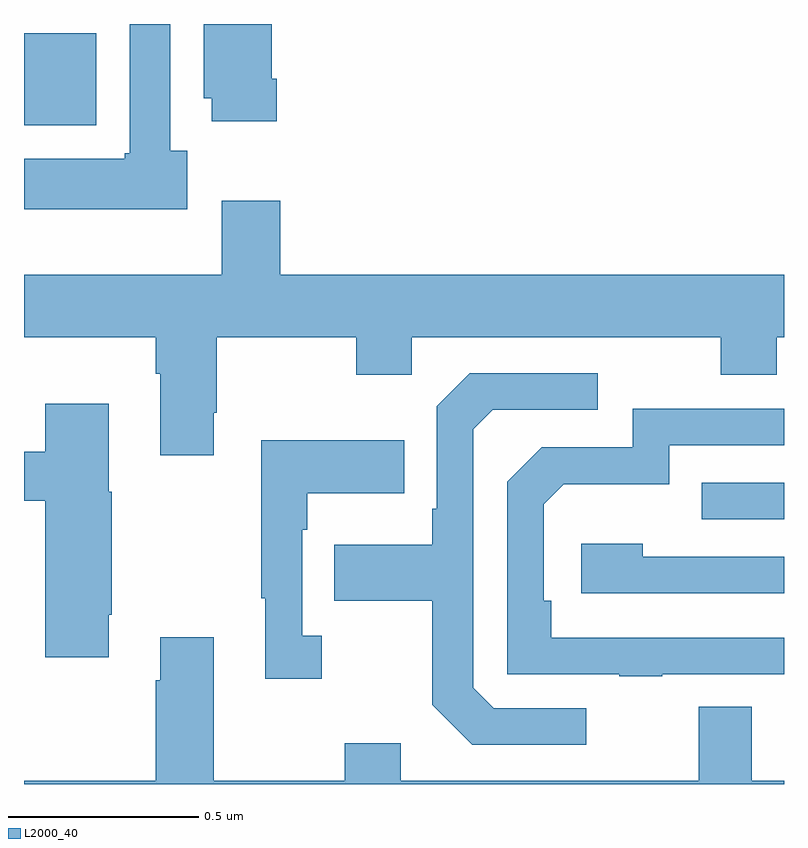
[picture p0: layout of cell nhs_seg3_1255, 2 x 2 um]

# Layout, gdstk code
import gdstk
lib = gdstk.Library(unit=1e-6, precision=1e-09)
def R(c, l, rs):  # rectangles x0, y0, x1, y1
    for r in rs: c.add(gdstk.rectangle(r[:2], r[2:], *l))
def P(c, l, *ps):  # polygons
    for p in ps: c.add(gdstk.Polygon(p, *l))
L2000_40 = (2000, 40)

nhs_seg3_1255 = lib.new_cell('nhs_seg3_1255')
R(nhs_seg3_1255, L2000_40, [(127.783,707.097,128,707.193), (126,708.134,126.19,708.376)])
P(nhs_seg3_1255, L2000_40, [(126.43,708.066),(126.385,708.066),(126.385,708.4),(126.278,708.4),(126.278,708.06),(126.265,708.06),(126.265,708.046),(126,708.046),(126,707.912),(126.43,707.912)],
  [(126.665,708.256),(126.652,708.256),(126.652,708.4),(126.473,708.4),(126.473,708.204),(126.494,708.204),(126.494,708.144),(126.665,708.144)],
  [(126.499,707.377),(126.507,707.377),(126.507,707.576),(126.874,707.576),(126.874,707.477),(127.02,707.477),(127.02,707.576),(127.834,707.576),(127.834,707.477),(127.981,707.477),(127.981,707.576),(128,707.576),(128,707.74),(126.674,707.74),(126.674,707.935),(126.521,707.935),(126.521,707.74),(126,707.74),(126,707.576),(126.347,707.576),(126.347,707.48),(126.359,707.48),(126.359,707.265),(126.499,707.265)],
  [(127.48,706.599),(127.236,706.599),(127.182,706.653),(127.182,707.334),(127.233,707.385),(127.51,707.385),(127.51,707.481),(127.173,707.481),(127.086,707.394),(127.086,707.125),(127.074,707.125),(127.074,707.029),(126.817,707.029),(126.817,706.882),(127.074,706.882),(127.074,706.609),(127.179,706.503),(127.48,706.503)],
  [(126.223,706.846),(126.231,706.846),(126.231,707.169),(126.223,707.169),(126.223,707.401),(126.056,707.401),(126.056,707.275),(126,707.275),(126,707.146),(126.056,707.146),(126.056,706.734),(126.223,706.734)],
  [(127.679,706.689),(128,706.689),(128,706.785),(127.388,706.785),(127.388,706.882),(127.368,706.882),(127.368,707.136),(127.421,707.189),(127.698,707.189),(127.698,707.292),(128,707.292),(128,707.388),(127.602,707.388),(127.602,707.286),(127.362,707.286),(127.272,707.196),(127.272,706.689),(127.567,706.689),(127.567,706.684),(127.679,706.684)],
  [(126.784,706.79),(126.732,706.79),(126.732,707.069),(126.745,707.069),(126.745,707.165),(127.001,707.165),(127.001,707.305),(126.624,707.305),(126.624,706.889),(126.635,706.889),(126.635,706.677),(126.784,706.677)],
  [(128,706.998),(127.628,706.998),(127.628,707.032),(127.467,707.032),(127.467,706.902),(128,706.902)],
  [(128,706.408),(127.915,706.408),(127.915,706.603),(127.775,706.603),(127.775,706.408),(126.991,706.408),(126.991,706.507),(126.844,706.507),(126.844,706.408),(126.499,706.408),(126.499,706.786),(126.359,706.786),(126.359,706.673),(126.347,706.673),(126.347,706.408),(126,706.408),(126,706.4),(128,706.4)])

lib.write_gds('nhs_seg3_1255.gds')
